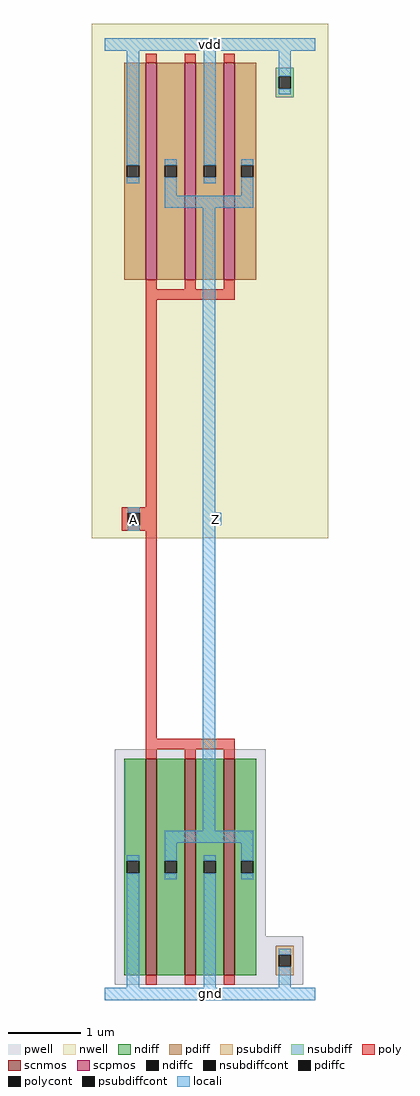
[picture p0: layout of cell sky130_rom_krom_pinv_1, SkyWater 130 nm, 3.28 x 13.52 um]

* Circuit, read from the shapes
.subckt sky130_rom_krom_pinv_1 A Z gnd vdd
XM1 Z A gnd gnd sky130_fd_pr__nfet_01v8 w=3 l=0.15 m=3
XM2 Z A vdd vdd sky130_fd_pr__pfet_01v8 w=3 l=0.15 m=3
.ends

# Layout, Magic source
magic
tech sky130A
magscale 1 2
<< nwell >>
rect -36 1262 620 2686
<< pwell >>
rect 28 159 446 677
rect 28 25 550 159
<< scnmos >>
rect 114 51 144 651
rect 222 51 252 651
rect 330 51 360 651
<< scpmos >>
rect 114 1978 144 2578
rect 222 1978 252 2578
rect 330 1978 360 2578
<< ndiff >>
rect 54 368 114 651
rect 54 334 62 368
rect 96 334 114 368
rect 54 51 114 334
rect 144 368 222 651
rect 144 334 166 368
rect 200 334 222 368
rect 144 51 222 334
rect 252 368 330 651
rect 252 334 274 368
rect 308 334 330 368
rect 252 51 330 334
rect 360 368 420 651
rect 360 334 378 368
rect 412 334 420 368
rect 360 51 420 334
<< pdiff >>
rect 54 2295 114 2578
rect 54 2261 62 2295
rect 96 2261 114 2295
rect 54 1978 114 2261
rect 144 2295 222 2578
rect 144 2261 166 2295
rect 200 2261 222 2295
rect 144 1978 222 2261
rect 252 2295 330 2578
rect 252 2261 274 2295
rect 308 2261 330 2295
rect 252 1978 330 2261
rect 360 2295 420 2578
rect 360 2261 378 2295
rect 412 2261 420 2295
rect 360 1978 420 2261
<< ndiffc >>
rect 62 334 96 368
rect 166 334 200 368
rect 274 334 308 368
rect 378 334 412 368
<< pdiffc >>
rect 62 2261 96 2295
rect 166 2261 200 2295
rect 274 2261 308 2295
rect 378 2261 412 2295
<< psubdiff >>
rect 474 109 524 133
rect 474 75 482 109
rect 516 75 524 109
rect 474 51 524 75
<< nsubdiff >>
rect 474 2541 524 2565
rect 474 2507 482 2541
rect 516 2507 524 2541
rect 474 2483 524 2507
<< psubdiffcont >>
rect 482 75 516 109
<< nsubdiffcont >>
rect 482 2507 516 2541
<< poly >>
rect 114 2578 144 2604
rect 222 2578 252 2604
rect 330 2578 360 2604
rect 114 1952 144 1978
rect 222 1952 252 1978
rect 330 1952 360 1978
rect 114 1922 360 1952
rect 114 1348 144 1922
rect 48 1332 144 1348
rect 48 1298 64 1332
rect 98 1298 144 1332
rect 48 1282 144 1298
rect 114 707 144 1282
rect 114 677 360 707
rect 114 651 144 677
rect 222 651 252 677
rect 330 651 360 677
rect 114 25 144 51
rect 222 25 252 51
rect 330 25 360 51
<< polycont >>
rect 64 1298 98 1332
<< locali >>
rect 0 2612 584 2646
rect 62 2295 96 2612
rect 62 2245 96 2261
rect 166 2295 200 2311
rect 166 2211 200 2261
rect 274 2295 308 2612
rect 482 2541 516 2612
rect 482 2491 516 2507
rect 274 2245 308 2261
rect 378 2295 412 2311
rect 378 2211 412 2261
rect 166 2177 412 2211
rect 64 1332 98 1348
rect 64 1282 98 1298
rect 272 1332 306 2177
rect 272 1298 323 1332
rect 272 452 306 1298
rect 166 418 412 452
rect 62 368 96 384
rect 62 17 96 334
rect 166 368 200 418
rect 166 318 200 334
rect 274 368 308 384
rect 274 17 308 334
rect 378 368 412 418
rect 378 318 412 334
rect 482 109 516 125
rect 482 17 516 75
rect 0 -17 584 17
<< labels >>
rlabel locali s 81 1315 81 1315 4 A
port 1 nsew
rlabel locali s 306 1315 306 1315 4 Z
port 2 nsew
rlabel locali s 292 0 292 0 4 gnd
port 3 nsew
rlabel locali s 292 2629 292 2629 4 vdd
port 4 nsew
<< properties >>
string FIXED_BBOX 0 0 584 2194
<< end >>
